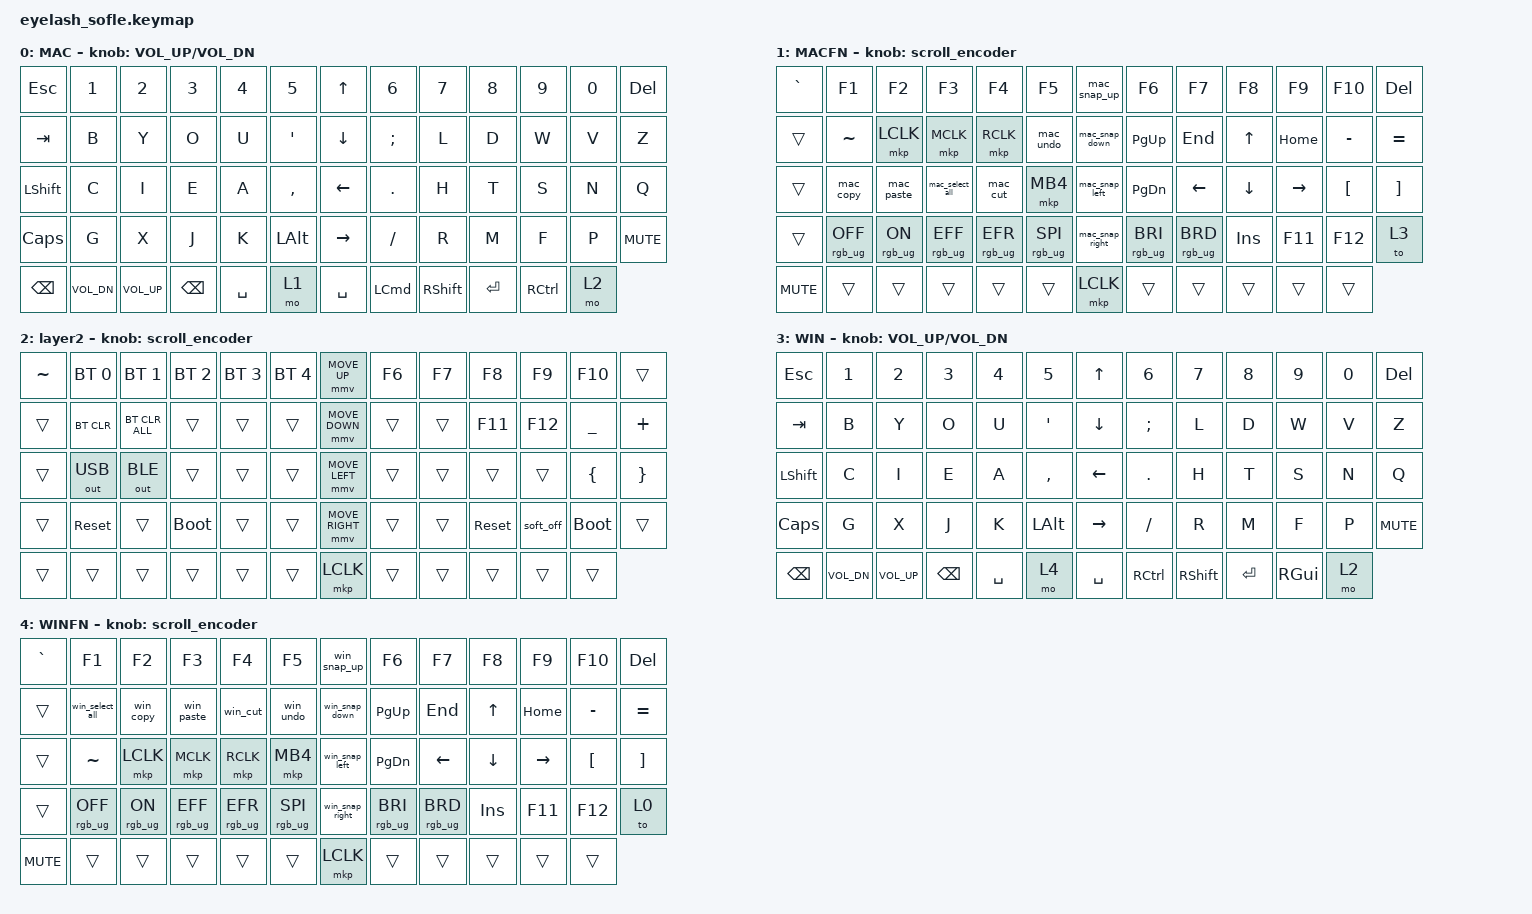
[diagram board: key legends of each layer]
#define ZMK_POINTING_DEFAULT_MOVE_VAL 1200  // 600
#define ZMK_POINTING_DEFAULT_SCRL_VAL 25   // 10

#include <input/processors.dtsi>
#include <zephyr/dt-bindings/input/input-event-codes.h>
#include <behaviors.dtsi>
#include <dt-bindings/zmk/bt.h>
#include <dt-bindings/zmk/keys.h>
#include <dt-bindings/zmk/outputs.h>
#include <dt-bindings/zmk/pointing.h>
#include <dt-bindings/zmk/rgb.h>

&mmv_input_listener { input-processors = <&zip_xy_scaler 2 1>; };

&msc_input_listener { input-processors = <&zip_scroll_scaler 2 1>; };

&msc {
    acceleration-exponent = <1>;      // 0
    time-to-max-speed-ms = <100>;       // 300
    delay-ms = <0>;                   // 0
};

&mmv {
    time-to-max-speed-ms = <500>;
    acceleration-exponent = <1>;
    trigger-period-ms = <16>;
};

&soft_off { hold-time-ms = <2000>; };

/ {
    scroll_encoder: scroll_encoder {
        compatible = "zmk,behavior-sensor-rotate";
        #sensor-binding-cells = <0>;
        bindings = <&msc SCRL_DOWN>, <&msc SCRL_UP>;

        tap-ms = <100>;
    };

    behaviors {
        // Windows window snapping
        win_snap_left: win_snap_left {
            compatible = "zmk,behavior-macro";
            #binding-cells = <0>;
            bindings = <&kp LG(LEFT)>;
        };
        win_snap_right: win_snap_right {
            compatible = "zmk,behavior-macro";
            #binding-cells = <0>;
            bindings = <&kp LG(RIGHT)>;
        };
        win_snap_up: win_snap_up {
            compatible = "zmk,behavior-macro";
            #binding-cells = <0>;
            bindings = <&kp LG(UP)>;
        };
        win_snap_down: win_snap_down {
            compatible = "zmk,behavior-macro";
            #binding-cells = <0>;
            bindings = <&kp LG(DOWN)>;
        };

        // Mac native window snapping (Globe/Fn + Control + Arrow)
        mac_snap_left: mac_snap_left {
            compatible = "zmk,behavior-macro";
            #binding-cells = <0>;
            bindings = <&kp LG(LC(LEFT))>;
        };
        mac_snap_right: mac_snap_right {
            compatible = "zmk,behavior-macro";
            #binding-cells = <0>;
            bindings = <&kp LG(LC(RIGHT))>;
        };
        mac_snap_up: mac_snap_up {
            compatible = "zmk,behavior-macro";
            #binding-cells = <0>;
            bindings = <&kp LG(LC(UP))>;
        };
        mac_snap_down: mac_snap_down {
            compatible = "zmk,behavior-macro";
            #binding-cells = <0>;
            bindings = <&kp LG(LC(DOWN))>;
        };

        // Common macros - Windows versions
        win_select_all: win_select_all {
            compatible = "zmk,behavior-macro";
            #binding-cells = <0>;
            bindings = <&kp LC(A)>;
        };
        win_copy: win_copy {
            compatible = "zmk,behavior-macro";
            #binding-cells = <0>;
            bindings = <&kp LC(C)>;
        };
        win_paste: win_paste {
            compatible = "zmk,behavior-macro";
            #binding-cells = <0>;
            bindings = <&kp LC(V)>;
        };
        win_cut: win_cut {
            compatible = "zmk,behavior-macro";
            #binding-cells = <0>;
            bindings = <&kp LC(X)>;
        };
        win_undo: win_undo {
            compatible = "zmk,behavior-macro";
            #binding-cells = <0>;
            bindings = <&kp LC(Z)>;
        };

        // Common macros - Mac versions
        mac_select_all: mac_select_all {
            compatible = "zmk,behavior-macro";
            #binding-cells = <0>;
            bindings = <&kp LG(A)>;
        };
        mac_copy: mac_copy {
            compatible = "zmk,behavior-macro";
            #binding-cells = <0>;
            bindings = <&kp LG(C)>;
        };
        mac_paste: mac_paste {
            compatible = "zmk,behavior-macro";
            #binding-cells = <0>;
            bindings = <&kp LG(V)>;
        };
        mac_cut: mac_cut {
            compatible = "zmk,behavior-macro";
            #binding-cells = <0>;
            bindings = <&kp LG(X)>;
        };
        mac_undo: mac_undo {
            compatible = "zmk,behavior-macro";
            #binding-cells = <0>;
            bindings = <&kp LG(Z)>;
        };
    };

    combos {
        compatible = "zmk,combos";

        softoff {
            bindings = <&soft_off>;
            key-positions = <25 36 47>;
        };
    };

    keymap {
        compatible = "zmk,keymap";

        layer0 {
            // Mac base layer (default)
            bindings = <
&kp ESC     &kp N1     &kp N2        &kp N3        &kp N4  &kp N5       &kp UP_ARROW     &kp N6     &kp N7     &kp N8     &kp N9           &kp N0      &kp DELETE
&kp TAB     &kp B      &kp Y         &kp O         &kp U   &kp APOS     &kp DOWN_ARROW   &kp SEMI   &kp L      &kp D      &kp W            &kp V       &kp Z
&kp LSHIFT  &kp C      &kp I         &kp E         &kp A   &kp COMMA    &kp LEFT_ARROW   &kp DOT    &kp H      &kp T      &kp S            &kp N       &kp Q
&kp CAPS    &kp G      &kp X         &kp J         &kp K   &kp LALT     &kp RIGHT_ARROW  &kp FSLH   &kp R      &kp M      &kp F            &kp P       &kp C_MUTE
&kp BSPC &kp C_VOL_DN &kp C_VOL_UP &kp BSPC   &kp SPACE     &mo 1          &kp SPACE      &kp LCMD   &kp RSHIFT &kp ENTER  &kp RCTRL        &mo 2
            >;

            sensor-bindings = <&inc_dec_kp C_VOLUME_UP C_VOL_DN>;
            display-name = "MAC";
        };

        layer_1 {
            // Mac function layer
            bindings = <
&kp GRAVE   &kp F1           &kp F2          &kp F3           &kp F4           &kp F5             &mac_snap_up     &kp F6           &kp F7           &kp F8      &kp F9     &kp F10           &kp DELETE
&trans      &kp TILDE        &mkp LCLK       &mkp MCLK        &mkp RCLK        &mac_undo          &mac_snap_down   &kp PG_UP        &kp END          &kp UP      &kp HOME   &kp MINUS         &kp EQUAL
&trans      &mac_copy        &mac_paste      &mac_select_all  &mac_cut         &mkp MB4           &mac_snap_left   &kp PG_DN        &kp LEFT         &kp DOWN    &kp RIGHT  &kp LEFT_BRACKET  &kp RIGHT_BRACKET
&trans      &rgb_ug RGB_OFF  &rgb_ug RGB_ON  &rgb_ug RGB_EFF  &rgb_ug RGB_EFR  &rgb_ug RGB_SPI    &mac_snap_right  &rgb_ug RGB_BRI  &rgb_ug RGB_BRD  &kp INSERT  &kp F11    &kp F12           &to 3
&kp C_MUTE  &trans           &trans          &trans           &trans           &trans             &mkp LCLK        &trans           &trans           &trans      &trans     &trans
            >;

            display-name = "MACFN";
            sensor-bindings = <&scroll_encoder>;
        };

        layer_2 {
            bindings = <
&kp TILDE  &bt BT_SEL 0  &bt BT_SEL 1    &bt BT_SEL 2  &bt BT_SEL 3  &bt BT_SEL 4    &mmv MOVE_UP     &kp F6  &kp F7  &kp F8      &kp F9     &kp F10      &trans
&trans     &bt BT_CLR    &bt BT_CLR_ALL  &trans        &trans        &trans          &mmv MOVE_DOWN   &trans  &trans  &kp F11     &kp F12    &kp UNDER    &kp PLUS
&trans     &out OUT_USB  &out OUT_BLE    &trans        &trans        &trans          &mmv MOVE_LEFT   &trans  &trans  &trans      &trans     &kp LBRC     &kp RBRC
&trans     &sys_reset    &trans          &bootloader   &trans        &trans          &mmv MOVE_RIGHT  &trans  &trans  &sys_reset  &soft_off  &bootloader  &trans
&trans     &trans        &trans          &trans        &trans        &trans          &mkp LCLK        &trans  &trans  &trans      &trans     &trans
            >;

            display-name = "layer2";
            sensor-bindings = <&scroll_encoder>;
        };

        layer_3 {
            // Windows base layer - Toggle from Mac with FN+F12
            bindings = <
&kp ESC     &kp N1     &kp N2        &kp N3        &kp N4  &kp N5       &kp UP_ARROW     &kp N6     &kp N7     &kp N8     &kp N9           &kp N0      &kp DELETE
&kp TAB     &kp B      &kp Y         &kp O         &kp U   &kp APOS     &kp DOWN_ARROW   &kp SEMI   &kp L      &kp D      &kp W            &kp V       &kp Z
&kp LSHIFT  &kp C      &kp I         &kp E         &kp A   &kp COMMA    &kp LEFT_ARROW   &kp DOT    &kp H      &kp T      &kp S            &kp N       &kp Q
&kp CAPS    &kp G      &kp X         &kp J         &kp K   &kp LALT     &kp RIGHT_ARROW  &kp FSLH   &kp R      &kp M      &kp F            &kp P       &kp C_MUTE
&kp BSPC &kp C_VOL_DN &kp C_VOL_UP &kp BSPC   &kp SPACE     &mo 4          &kp SPACE      &kp RCTRL  &kp RSHIFT &kp ENTER  &kp RGUI         &mo 2
            >;

            display-name = "WIN";
            sensor-bindings = <&inc_dec_kp C_VOLUME_UP C_VOL_DN>;
        };

        layer_4 {
            // Windows function layer - accessed from Layer 3
            bindings = <
&kp GRAVE   &kp F1           &kp F2          &kp F3           &kp F4           &kp F5             &win_snap_up     &kp F6           &kp F7           &kp F8      &kp F9     &kp F10           &kp DELETE
&trans      &win_select_all  &win_copy       &win_paste       &win_cut         &win_undo          &win_snap_down   &kp PG_UP        &kp END          &kp UP      &kp HOME   &kp MINUS         &kp EQUAL
&trans      &kp TILDE        &mkp LCLK       &mkp MCLK        &mkp RCLK        &mkp MB4           &win_snap_left   &kp PG_DN        &kp LEFT         &kp DOWN    &kp RIGHT  &kp LEFT_BRACKET  &kp RIGHT_BRACKET
&trans      &rgb_ug RGB_OFF  &rgb_ug RGB_ON  &rgb_ug RGB_EFF  &rgb_ug RGB_EFR  &rgb_ug RGB_SPI    &win_snap_right  &rgb_ug RGB_BRI  &rgb_ug RGB_BRD  &kp INSERT  &kp F11    &kp F12           &to 0
&kp C_MUTE  &trans           &trans          &trans           &trans           &trans             &mkp LCLK        &trans           &trans           &trans      &trans     &trans
            >;
         display-name = "WINFN";
            sensor-bindings = <&scroll_encoder>;
        };
    };
};
